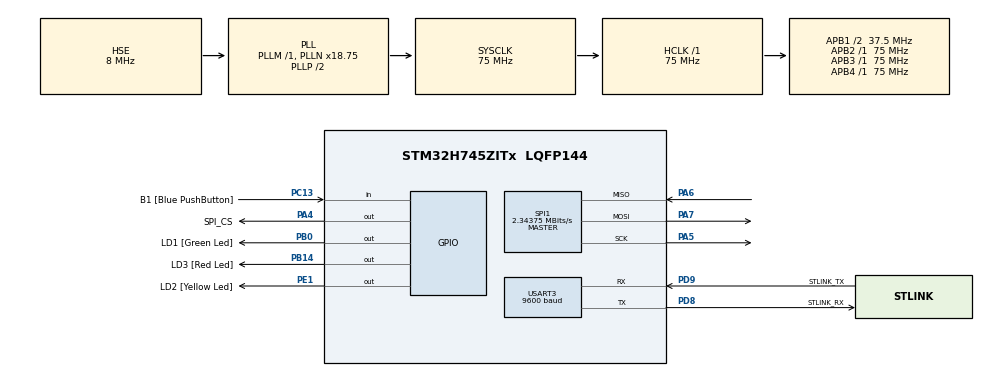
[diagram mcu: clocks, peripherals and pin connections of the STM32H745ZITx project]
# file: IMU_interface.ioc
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CortexM4.IPs=BDMA,CORTEX_M4\:I,DEBUG,DMA,FATFS_M4\:I,FREERTOS_M4\:I,GPIO,IWDG2\:I,MDMA,NVIC2\:I,OPENAMP_M4\:I,PDM2PCM_M4\:I,PWR,RCC,RESMGR_UTILITY,SYS_M4\:I,USB_DEVICE_M4\:I,USB_HOST_M4\:I,VREFBUF,WWDG2\:I,USART3,SPI1
CortexM4.Pins=PE1
CortexM7.IPs=BDMA\:I,CORTEX_M7\:I,DEBUG\:I,DMA\:I,FATFS_M7\:I,FREERTOS_M7\:I,GPIO\:I,IWDG1\:I,MDMA\:I,NVIC1\:I,OPENAMP_M7\:I,PDM2PCM_M7\:I,PWR\:I,RCC\:I,RESMGR_UTILITY\:I,SYS\:I,USB_DEVICE_M7\:I,USB_HOST_M7\:I,VREFBUF\:I,WWDG1\:I,USART3\:I,SPI1\:I
CortexM7.Pins=PC13,PB0,PB14
Mcu.Family=STM32H7
Mcu.Name=STM32H745ZITx
Mcu.Package=LQFP144
NVIC1.PriorityGroup=NVIC_PRIORITYGROUP_4
NVIC2.PriorityGroup=NVIC_PRIORITYGROUP_4
PA4.GPIO_Label=SPI_CS
PA4.PinAttribute=Free
PA4.Signal=GPIO_Output
PA5.Mode=Full_Duplex_Master
PA5.PinAttribute=CortexM7
PA5.Signal=SPI1_SCK
PA6.Mode=Full_Duplex_Master
PA6.PinAttribute=CortexM7
PA6.Signal=SPI1_MISO
PA7.Mode=Full_Duplex_Master
PA7.PinAttribute=CortexM7
PA7.Signal=SPI1_MOSI
PB0.GPIO_Label=LD1 [Green Led]
PB0.PinAttribute=CortexM7
PB0.Signal=GPIO_Output
PB14.GPIO_Label=LD3 [Red Led]
PB14.PinAttribute=CortexM7
PB14.Signal=GPIO_Output
PC13.GPIO_Label=B1 [Blue PushButton]
PC13.PinAttribute=CortexM7
PC13.Signal=GPIO_Input
PC14-OSC32_IN\ (OSC32_IN).Mode=LSE-External-Oscillator
PC14-OSC32_IN\ (OSC32_IN).PinAttribute=CortexM7
PC14-OSC32_IN\ (OSC32_IN).Signal=RCC_OSC32_IN
PC15-OSC32_OUT\ (OSC32_OUT).Mode=LSE-External-Oscillator
PC15-OSC32_OUT\ (OSC32_OUT).PinAttribute=CortexM7
PC15-OSC32_OUT\ (OSC32_OUT).Signal=RCC_OSC32_OUT
PD8.GPIO_Label=STLINK_RX
PD8.Mode=Asynchronous
PD8.PinAttribute=CortexM7
PD8.Signal=USART3_TX
PD9.GPIO_Label=STLINK_TX
PD9.Mode=Asynchronous
PD9.PinAttribute=CortexM7
PD9.Signal=USART3_RX
PE1.GPIO_Label=LD2 [Yellow Led]
PE1.PinAttribute=CortexM4
PE1.Signal=GPIO_Output
PH0-OSC_IN\ (PH0).Mode=HSE-External-Clock-Source
PH0-OSC_IN\ (PH0).PinAttribute=CortexM7
PH0-OSC_IN\ (PH0).Signal=RCC_OSC_IN
ProjectManager.HeapSize=M4-0x200,M7-0x200
ProjectManager.StackSize=M4-0x400,M7-0x400
ProjectManager.TargetToolchain=STM32CubeIDE
RCC.ADCFreq_Value=16125000
RCC.APB1Freq_Value=37500000
RCC.APB2Freq_Value=75000000
RCC.APB3Freq_Value=75000000
RCC.APB4Freq_Value=75000000
RCC.CortexFreq_Value=75000000
RCC.D2PPRE1=RCC_APB1_DIV2
RCC.DIVM1=1
RCC.DIVN1=18
RCC.HCLKFreq_Value=75000000
RCC.HSE_VALUE=8000000
RCC.PLLFRACN=6144
RCC.PLLSourceVirtual=RCC_PLLSOURCE_HSE
RCC.SYSCLKFreq_VALUE=75000000
RCC.SYSCLKSource=RCC_SYSCLKSOURCE_PLLCLK
RCC.USBFreq_Value=75000000
SPI1.BaudRatePrescaler=SPI_BAUDRATEPRESCALER_32
SPI1.CLKPhase=SPI_PHASE_2EDGE
SPI1.CLKPolarity=SPI_POLARITY_HIGH
SPI1.CalculateBaudRate=2.34375 MBits/s
SPI1.Direction=SPI_DIRECTION_2LINES
SPI1.Mode=SPI_MODE_MASTER
SPI1.VirtualType=VM_MASTER
USART3.BaudRate=9600
USART3.VirtualMode-Asynchronous=VM_ASYNC
board=custom

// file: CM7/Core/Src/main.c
/* USER CODE BEGIN Header */
/**
  ******************************************************************************
  * @file           : main.c
  * @brief          : Main program body
  ******************************************************************************
  * @attention
  *
  * Copyright (c) 2022 STMicroelectronics.
  * All rights reserved.
  *
  * This software is licensed under terms that can be found in the LICENSE file
  * in the root directory of this software component.
  * If no LICENSE file comes with this software, it is provided AS-IS.
  *
  ******************************************************************************
  */
/* USER CODE END Header */
#include "main.h"
#include "myprintf.h"

SPI_HandleTypeDef hspi1;

UART_HandleTypeDef huart3;

/* USER CODE BEGIN PV */
volatile uint8_t timer_flag = 0;
/* USER CODE END PV */

void SystemClock_Config(void);
static void MX_GPIO_Init(void);
static void MX_USART3_UART_Init(void);
static void MX_SPI1_Init(void);
/* USER CODE BEGIN PFP */
void mpu9250_read_reg(uint8_t reg, uint8_t *data, uint8_t len);
void mpu9250_write_reg(uint8_t reg, uint8_t data);
/* USER CODE END PFP */

int main(void)
{
/* USER CODE BEGIN Boot_Mode_Sequence_0 */
  int32_t timeout;
/* USER CODE END Boot_Mode_Sequence_0 */

/* USER CODE BEGIN Boot_Mode_Sequence_1 */
  /* Wait until CPU2 boots and enters in stop mode or timeout*/
  timeout = 0xFFFF;
  while((__HAL_RCC_GET_FLAG(RCC_FLAG_D2CKRDY) != RESET) && (timeout-- > 0));
  if ( timeout < 0 )
  {
  Error_Handler();
  }
/* USER CODE END Boot_Mode_Sequence_1 */
  /* MCU Configuration--------------------------------------------------------*/

  /* Reset of all peripherals, Initializes the Flash interface and the Systick. */
  HAL_Init();

  /* Configure the system clock */
  SystemClock_Config();
/* USER CODE BEGIN Boot_Mode_Sequence_2 */
/* When system initialization is finished, Cortex-M7 will release Cortex-M4 by means of
HSEM notification */
/*HW semaphore Clock enable*/
__HAL_RCC_HSEM_CLK_ENABLE();
/*Take HSEM */

/*Release HSEM in order to notify the CPU2(CM4)*/

/* wait until CPU2 wakes up from stop mode */
timeout = 0xFFFF;
while((__HAL_RCC_GET_FLAG(RCC_FLAG_D2CKRDY) == RESET) && (timeout-- > 0));
if ( timeout < 0 )
{
Error_Handler();
}
/* USER CODE END Boot_Mode_Sequence_2 */

  /* Initialize all configured peripherals */
  MX_GPIO_Init();
  MX_USART3_UART_Init();
  MX_SPI1_Init();
  /* USER CODE BEGIN 2 */
  int16_t accel_data;
  uint8_t imu_data[14];
  mpu9250_write_reg(28, 0x08);
  /* USER CODE END 2 */

  /* Infinite loop */
  /* USER CODE BEGIN WHILE */
  while (1)

  {
	  printf("A\n\r");
	  mpu9250_read_reg(59, imu_data, sizeof(imu_data));
      accel_data = ((int16_t)imu_data[0]<<8) + imu_data[1];
      printf("%d\n\r",accel_data);

    /* USER CODE END WHILE */

  }
}

void SystemClock_Config(void)
{
  RCC_OscInitTypeDef RCC_OscInitStruct = {0};
  RCC_ClkInitTypeDef RCC_ClkInitStruct = {0};

  /** Supply configuration update enable
  */
  HAL_PWREx_ConfigSupply(PWR_DIRECT_SMPS_SUPPLY);

  /** Configure the main internal regulator output voltage
  */
  __HAL_PWR_VOLTAGESCALING_CONFIG(PWR_REGULATOR_VOLTAGE_SCALE3);

  while(!__HAL_PWR_GET_FLAG(PWR_FLAG_VOSRDY)) {}

  /** Initializes the RCC Oscillators according to the specified parameters
  * in the RCC_OscInitTypeDef structure.
  */
  RCC_OscInitStruct.OscillatorType = RCC_OSCILLATORTYPE_HSE;
  RCC_OscInitStruct.HSEState = RCC_HSE_BYPASS;
  RCC_OscInitStruct.PLL.PLLState = RCC_PLL_ON;
  RCC_OscInitStruct.PLL.PLLSource = RCC_PLLSOURCE_HSE;
  RCC_OscInitStruct.PLL.PLLM = 1;
  RCC_OscInitStruct.PLL.PLLN = 18;
  RCC_OscInitStruct.PLL.PLLP = 2;
  RCC_OscInitStruct.PLL.PLLQ = 2;
  RCC_OscInitStruct.PLL.PLLR = 2;
  RCC_OscInitStruct.PLL.PLLRGE = RCC_PLL1VCIRANGE_3;
  RCC_OscInitStruct.PLL.PLLVCOSEL = RCC_PLL1VCOMEDIUM;
  RCC_OscInitStruct.PLL.PLLFRACN = 6144;
  if (HAL_RCC_OscConfig(&RCC_OscInitStruct) != HAL_OK)
  {
    Error_Handler();
  }

  /** Initializes the CPU, AHB and APB buses clocks
  */
  RCC_ClkInitStruct.ClockType = RCC_CLOCKTYPE_HCLK|RCC_CLOCKTYPE_SYSCLK
                              |RCC_CLOCKTYPE_PCLK1|RCC_CLOCKTYPE_PCLK2
                              |RCC_CLOCKTYPE_D3PCLK1|RCC_CLOCKTYPE_D1PCLK1;
  RCC_ClkInitStruct.SYSCLKSource = RCC_SYSCLKSOURCE_PLLCLK;
  RCC_ClkInitStruct.SYSCLKDivider = RCC_SYSCLK_DIV1;
  RCC_ClkInitStruct.AHBCLKDivider = RCC_HCLK_DIV1;
  RCC_ClkInitStruct.APB3CLKDivider = RCC_APB3_DIV1;
  RCC_ClkInitStruct.APB1CLKDivider = RCC_APB1_DIV2;
  RCC_ClkInitStruct.APB2CLKDivider = RCC_APB2_DIV1;
  RCC_ClkInitStruct.APB4CLKDivider = RCC_APB4_DIV1;

  if (HAL_RCC_ClockConfig(&RCC_ClkInitStruct, FLASH_LATENCY_1) != HAL_OK)
  {
    Error_Handler();
  }
}

static void MX_SPI1_Init(void)
{

  /* SPI1 parameter configuration*/
  hspi1.Instance = SPI1;
  hspi1.Init.Mode = SPI_MODE_MASTER;
  hspi1.Init.Direction = SPI_DIRECTION_2LINES;
  hspi1.Init.DataSize = SPI_DATASIZE_4BIT;
  hspi1.Init.CLKPolarity = SPI_POLARITY_HIGH;
  hspi1.Init.CLKPhase = SPI_PHASE_2EDGE;
  hspi1.Init.NSS = SPI_NSS_SOFT;
  hspi1.Init.BaudRatePrescaler = SPI_BAUDRATEPRESCALER_32;
  hspi1.Init.FirstBit = SPI_FIRSTBIT_MSB;
  hspi1.Init.TIMode = SPI_TIMODE_DISABLE;
  hspi1.Init.CRCCalculation = SPI_CRCCALCULATION_DISABLE;
  hspi1.Init.CRCPolynomial = 0x0;
  hspi1.Init.NSSPMode = SPI_NSS_PULSE_ENABLE;
  hspi1.Init.NSSPolarity = SPI_NSS_POLARITY_LOW;
  hspi1.Init.FifoThreshold = SPI_FIFO_THRESHOLD_01DATA;
  hspi1.Init.TxCRCInitializationPattern = SPI_CRC_INITIALIZATION_ALL_ZERO_PATTERN;
  hspi1.Init.RxCRCInitializationPattern = SPI_CRC_INITIALIZATION_ALL_ZERO_PATTERN;
  hspi1.Init.MasterSSIdleness = SPI_MASTER_SS_IDLENESS_00CYCLE;
  hspi1.Init.MasterInterDataIdleness = SPI_MASTER_INTERDATA_IDLENESS_00CYCLE;
  hspi1.Init.MasterReceiverAutoSusp = SPI_MASTER_RX_AUTOSUSP_DISABLE;
  hspi1.Init.MasterKeepIOState = SPI_MASTER_KEEP_IO_STATE_DISABLE;
  hspi1.Init.IOSwap = SPI_IO_SWAP_DISABLE;
  if (HAL_SPI_Init(&hspi1) != HAL_OK)
  {
    Error_Handler();
  }

}

static void MX_USART3_UART_Init(void)
{

  huart3.Instance = USART3;
  huart3.Init.BaudRate = 9600;
  huart3.Init.WordLength = UART_WORDLENGTH_8B;
  huart3.Init.StopBits = UART_STOPBITS_1;
  huart3.Init.Parity = UART_PARITY_NONE;
  huart3.Init.Mode = UART_MODE_TX_RX;
  huart3.Init.HwFlowCtl = UART_HWCONTROL_NONE;
  huart3.Init.OverSampling = UART_OVERSAMPLING_16;
  huart3.Init.OneBitSampling = UART_ONE_BIT_SAMPLE_DISABLE;
  huart3.Init.ClockPrescaler = UART_PRESCALER_DIV1;
  huart3.AdvancedInit.AdvFeatureInit = UART_ADVFEATURE_NO_INIT;
  if (HAL_UART_Init(&huart3) != HAL_OK)
  {
    Error_Handler();
  }
  if (HAL_UARTEx_SetTxFifoThreshold(&huart3, UART_TXFIFO_THRESHOLD_1_8) != HAL_OK)
  {
    Error_Handler();
  }
  if (HAL_UARTEx_SetRxFifoThreshold(&huart3, UART_RXFIFO_THRESHOLD_1_8) != HAL_OK)
  {
    Error_Handler();
  }
  if (HAL_UARTEx_DisableFifoMode(&huart3) != HAL_OK)
  {
    Error_Handler();
  }

}

static void MX_GPIO_Init(void)
{
  GPIO_InitTypeDef GPIO_InitStruct = {0};

  /* GPIO Ports Clock Enable */
  __HAL_RCC_GPIOC_CLK_ENABLE();
  __HAL_RCC_GPIOH_CLK_ENABLE();
  __HAL_RCC_GPIOA_CLK_ENABLE();
  __HAL_RCC_GPIOB_CLK_ENABLE();
  __HAL_RCC_GPIOD_CLK_ENABLE();

  /*Configure GPIO pin Output Level */
  HAL_GPIO_WritePin(GPIOB, LD1_Pin|LD3_Pin, GPIO_PIN_RESET);

  /*Configure GPIO pin : B1_Pin */
  GPIO_InitStruct.Pin = B1_Pin;
  GPIO_InitStruct.Mode = GPIO_MODE_INPUT;
  GPIO_InitStruct.Pull = GPIO_NOPULL;
  HAL_GPIO_Init(B1_GPIO_Port, &GPIO_InitStruct);

  /*Configure GPIO pins : LD1_Pin LD3_Pin */
  GPIO_InitStruct.Pin = LD1_Pin|LD3_Pin;
  GPIO_InitStruct.Mode = GPIO_MODE_OUTPUT_PP;
  GPIO_InitStruct.Pull = GPIO_NOPULL;
  GPIO_InitStruct.Speed = GPIO_SPEED_FREQ_LOW;
  HAL_GPIO_Init(GPIOB, &GPIO_InitStruct);

}

/* USER CODE BEGIN 4 */
void mpu9250_write_reg(uint8_t reg, uint8_t data){
	HAL_GPIO_WritePin(GPIOA,GPIO_PIN_4,GPIO_PIN_RESET);
	HAL_SPI_Transmit(&hspi1, &reg, 1, 100);
	HAL_SPI_Transmit(&hspi1, &data, 1, 100);
	HAL_GPIO_WritePin(GPIOA,GPIO_PIN_4,GPIO_PIN_SET);
}

void mpu9250_read_reg(uint8_t reg, uint8_t *data, uint8_t len)
{
	uint8_t temp_data = 0x80|reg;
	HAL_GPIO_WritePin(GPIOA,GPIO_PIN_4,GPIO_PIN_RESET);
	HAL_SPI_Transmit(&hspi1, &temp_data , 1, 100);
	HAL_SPI_Receive(&hspi1, data, len, 100);
	HAL_GPIO_WritePin(GPIOA,GPIO_PIN_4,GPIO_PIN_SET);
}

int _write(int file, char *ptr, int len)
{
	int DataIdx;

	for (DataIdx = 0; DataIdx < len; DataIdx++)
	{
		ITM_SendChar(*ptr++);
	}
	return len;
}

/* USER CODE END 4 */

void Error_Handler(void)
{
  __disable_irq();
  while (1)
  {
  }
}
